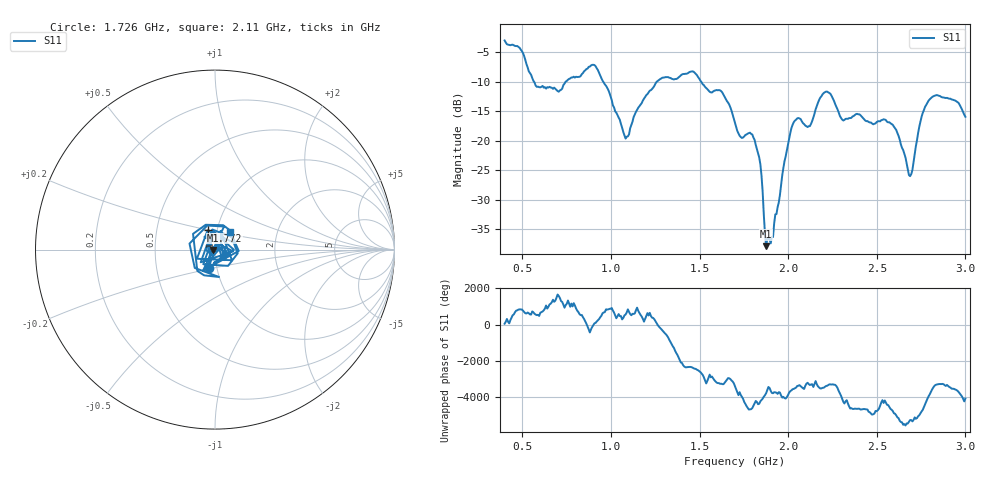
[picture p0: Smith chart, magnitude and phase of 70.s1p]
!Created with skrf (http://scikit-rf.org).
# Hz S RI R 50.0
!freq ReS11 ImS11
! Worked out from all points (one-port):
!   401 points, 400 MHz to 3 GHz, reference 50 ohm
!   lowest |S11| = -37.9 dB at 1.875 GHz (marker M1), VSWR 1.03, Z = 48.8 - j0.234 ohm
!   |S11| at or under -10 dB: 565.6 MHz to 744.4 MHz (178.8 MHz wide, 27.3 % of centre); 956.3 MHz to 1.259 GHz (302.8 MHz wide, 27.3 % of centre); 1.509 GHz to end of sweep
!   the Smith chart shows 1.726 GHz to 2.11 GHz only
!   S11 on the Smith chart (normalised r, x): 1.726 GHz: 0.91, -0.19; 1.772 GHz: 0.90, +0.20; 2.11 GHz: 1.16, +0.23
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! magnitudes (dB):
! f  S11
! 400 MHz  -3.0
! 491 MHz  -4.6
! 588.5 MHz  -10.8
! 725 MHz  -11.2
! 907 MHz  -7.2
! 1.05 GHz  -16.5
! 1.089 GHz  -19.3
! 1.264 GHz  -9.9
! 1.375 GHz  -9.5
! 1.46 GHz  -8.3
! 1.622 GHz  -11.6
! 1.7 GHz  -16.9
! 1.726 GHz  -19.2
! 1.772 GHz  -18.8
! 1.837 GHz  -22.8
! 1.875 GHz  -37.9
! 1.908 GHz  -36.3
! 2.025 GHz  -17.3
! 2.11 GHz  -17.7
! 2.213 GHz  -11.7
! 2.35 GHz  -16.2
! 2.584 GHz  -17.2
! 2.675 GHz  -24.9
! 2.695 GHz  -25.7
! 2.753 GHz  -15.9
! 2.805 GHz  -12.8
! 2.942 GHz  -13.2
! 3 GHz  -16.0
